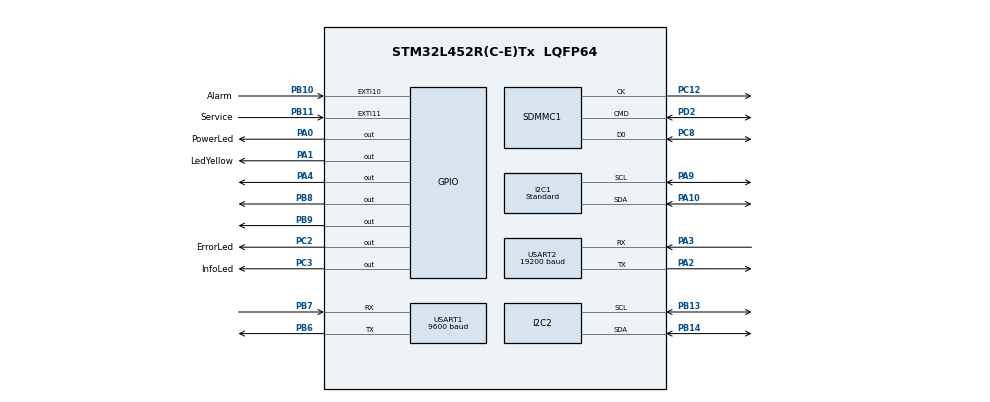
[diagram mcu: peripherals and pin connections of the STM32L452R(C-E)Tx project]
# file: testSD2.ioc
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Dma.Request0=SDMMC1
Dma.SDMMC1.0.Direction=DMA_PERIPH_TO_MEMORY
Dma.SDMMC1.0.Instance=DMA2_Channel4
Dma.SDMMC1.0.MemDataAlignment=DMA_MDATAALIGN_WORD
Dma.SDMMC1.0.MemInc=DMA_MINC_ENABLE
Dma.SDMMC1.0.Mode=DMA_NORMAL
Dma.SDMMC1.0.PeriphDataAlignment=DMA_PDATAALIGN_WORD
Dma.SDMMC1.0.PeriphInc=DMA_PINC_DISABLE
Dma.SDMMC1.0.Priority=DMA_PRIORITY_LOW
FATFS.USE_DMA_CODE_SD=1
FATFS._USE_LFN=3
I2C1.I2C_Speed_Mode=I2C_Standard
Mcu.Family=STM32L4
Mcu.Name=STM32L452R(C-E)Tx
Mcu.Package=LQFP64
NVIC.DMA2_Channel4_IRQn=true\:0\:0\:false\:false\:true\:false
NVIC.EXTI15_10_IRQn=true\:0\:0\:false\:false\:true\:true
NVIC.FLASH_IRQn=true\:0\:0\:false\:false\:true\:true
NVIC.FPU_IRQn=true\:0\:0\:false\:false\:true\:true
NVIC.I2C1_ER_IRQn=true\:0\:0\:false\:false\:true\:true
NVIC.I2C1_EV_IRQn=true\:0\:0\:false\:false\:true\:true
NVIC.I2C2_ER_IRQn=true\:0\:0\:false\:false\:true\:true
NVIC.I2C2_EV_IRQn=true\:0\:0\:false\:false\:true\:true
NVIC.PVD_PVM_IRQn=true\:0\:0\:false\:false\:true\:true
NVIC.PriorityGroup=NVIC_PRIORITYGROUP_4
NVIC.RCC_IRQn=true\:0\:0\:false\:false\:true\:true
NVIC.SDMMC1_IRQn=true\:0\:0\:false\:false\:true\:true
NVIC.TIM1_BRK_TIM15_IRQn=true\:0\:0\:false\:true\:true\:1\:true
NVIC.TIM1_UP_TIM16_IRQn=true\:0\:0\:false\:true\:true\:2\:true
NVIC.TIM2_IRQn=true\:0\:0\:false\:false\:true\:true
NVIC.TIM6_DAC_IRQn=true\:0\:0\:false\:false\:true\:true
NVIC.USART1_IRQn=true\:0\:0\:false\:false\:true\:true
NVIC.USART2_IRQn=true\:0\:0\:false\:false\:true\:true
PA0.GPIO_Label=PowerLed
PA0.GPIO_ModeDefaultOutputPP=GPIO_MODE_OUTPUT_PP
PA0.GPIO_PuPd=GPIO_NOPULL
PA0.GPIO_Speed=GPIO_SPEED_FREQ_HIGH
PA0.PinState=GPIO_PIN_SET
PA0.Signal=GPIO_Output
PA1.GPIO_Label=LedYellow
PA1.GPIO_ModeDefaultOutputPP=GPIO_MODE_OUTPUT_PP
PA1.GPIO_PuPd=GPIO_NOPULL
PA1.GPIO_Speed=GPIO_SPEED_FREQ_HIGH
PA1.PinState=GPIO_PIN_SET
PA1.Signal=GPIO_Output
PA10.GPIO_Mode=GPIO_MODE_AF_OD
PA10.GPIO_PuPdOD=GPIO_PULLUP
PA10.GPIO_Speed=GPIO_SPEED_FREQ_VERY_HIGH
PA10.Mode=I2C
PA10.Signal=I2C1_SDA
PA2.Mode=Asynchronous
PA2.Signal=USART2_TX
PA3.Mode=Asynchronous
PA3.Signal=USART2_RX
PA4.GPIO_ModeDefaultOutputPP=GPIO_MODE_OUTPUT_PP
PA4.GPIO_PuPd=GPIO_NOPULL
PA4.GPIO_Speed=GPIO_SPEED_FREQ_LOW
PA4.PinState=GPIO_PIN_RESET
PA4.Signal=GPIO_Output
PA9.GPIO_Mode=GPIO_MODE_AF_OD
PA9.GPIO_PuPdOD=GPIO_PULLUP
PA9.GPIO_Speed=GPIO_SPEED_FREQ_VERY_HIGH
PA9.Mode=I2C
PA9.Signal=I2C1_SCL
PB10.GPIO_Label=Alarm
PB10.GPIO_ModeDefaultEXTI=GPIO_MODE_IT_RISING
PB10.GPIO_PuPd=GPIO_NOPULL
PB10.Signal=GPXTI10
PB11.GPIO_Label=Service
PB11.GPIO_ModeDefaultEXTI=GPIO_MODE_IT_RISING
PB11.GPIO_PuPd=GPIO_NOPULL
PB11.Signal=GPXTI11
PB13.Mode=I2C
PB13.Signal=I2C2_SCL
PB14.Mode=I2C
PB14.Signal=I2C2_SDA
PB6.Mode=Asynchronous
PB6.Signal=USART1_TX
PB7.Mode=Asynchronous
PB7.Signal=USART1_RX
PB8.GPIO_FM8=__NULL
PB8.GPIO_ModeDefaultOutputPP=GPIO_MODE_OUTPUT_PP
PB8.GPIO_PuPd=GPIO_NOPULL
PB8.GPIO_Speed=GPIO_SPEED_FREQ_LOW
PB8.PinState=GPIO_PIN_RESET
PB8.Signal=GPIO_Output
PB9.GPIO_FM9=__NULL
PB9.GPIO_ModeDefaultOutputPP=GPIO_MODE_OUTPUT_PP
PB9.GPIO_PuPd=GPIO_NOPULL
PB9.GPIO_Speed=GPIO_SPEED_FREQ_LOW
PB9.PinState=GPIO_PIN_RESET
PB9.Signal=GPIO_Output
PC12.GPIO_Mode=GPIO_MODE_AF_PP
PC12.GPIO_PuPd=GPIO_NOPULL
PC12.GPIO_Speed_High_Default=GPIO_SPEED_FREQ_VERY_HIGH
PC12.Mode=SD_1_bit
PC12.Signal=SDMMC1_CK
PC2.GPIO_Label=ErrorLed
PC2.GPIO_ModeDefaultOutputPP=GPIO_MODE_OUTPUT_PP
PC2.GPIO_PuPd=GPIO_NOPULL
PC2.GPIO_Speed=GPIO_SPEED_FREQ_HIGH
PC2.PinState=GPIO_PIN_SET
PC2.Signal=GPIO_Output
PC3.GPIO_Label=InfoLed
PC3.GPIO_ModeDefaultOutputPP=GPIO_MODE_OUTPUT_PP
PC3.GPIO_PuPd=GPIO_NOPULL
PC3.GPIO_Speed=GPIO_SPEED_FREQ_HIGH
PC3.PinState=GPIO_PIN_SET
PC3.Signal=GPIO_Output
PC8.GPIO_Mode=GPIO_MODE_AF_PP
PC8.GPIO_PuPd=GPIO_NOPULL
PC8.GPIO_Speed_High_Default=GPIO_SPEED_FREQ_VERY_HIGH
PC8.Mode=SD_1_bit
PC8.Signal=SDMMC1_D0
PD2.GPIO_Mode=GPIO_MODE_AF_PP
PD2.GPIO_PuPd=GPIO_NOPULL
PD2.GPIO_Speed_High_Default=GPIO_SPEED_FREQ_VERY_HIGH
PD2.Mode=SD_1_bit
PD2.Signal=SDMMC1_CMD
ProjectManager.HeapSize=0x2000
ProjectManager.StackSize=0x4000
ProjectManager.TargetToolchain=SW4STM32
RCC.ADCFreq_Value=48000000
RCC.DATA_CACHE_ENABLE=1
RCC.INSTRUCTION_CACHE_ENABLE=0
RCC.PLLSAI1N=24
RCC.SYSCLKSource=RCC_SYSCLKSOURCE_PLLCLK
RCC.USBFreq_Value=48000000
RTC.Format=RTC_FORMAT_BIN
RTC.Hours=9
RTC.Minutes=20
TIM2.Period=19999
TIM2.Prescaler=19999
USART1.BaudRate=9600
USART1.VirtualMode-Asynchronous=VM_ASYNC
USART1.WordLength=WORDLENGTH_8B
USART2.BaudRate=19200
USART2.VirtualMode-Asynchronous=VM_ASYNC
USART2.WordLength=WORDLENGTH_8B
VP_FATFS_VS_SDIO.Mode=SDIO
VP_RTC_VS_RTC_Activate.Mode=RTC_Enabled
VP_RTC_VS_RTC_Calendar.Mode=RTC_Calendar
VP_TIM15_VS_ClockSourceINT.Mode=Internal
VP_TIM16_VS_ClockSourceINT.Mode=Enable_Timer
VP_TIM2_VS_ClockSourceINT.Mode=Internal
VP_TIM6_VS_ClockSourceINT.Mode=Enable_Timer
board=Centrala4

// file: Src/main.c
/**
  ******************************************************************************
  * @file           : main.c
  * @brief          : Main program body
  ******************************************************************************
  * This notice applies to any and all portions of this file
  * that are not between comment pairs USER CODE BEGIN and
  * USER CODE END. Other portions of this file, whether
  * inserted by the user or by software development tools
  * are owned by their respective copyright owners.
  *
  * Copyright (c) 2018 STMicroelectronics International N.V.
  * All rights reserved.
  *
  * Redistribution and use in source and binary forms, with or without
  * modification, are permitted, provided that the following conditions are met:
  *
  * 1. Redistribution of source code must retain the above copyright notice,
  *    this list of conditions and the following disclaimer.
  * 2. Redistributions in binary form must reproduce the above copyright notice,
  *    this list of conditions and the following disclaimer in the documentation
  *    and/or other materials provided with the distribution.
  * 3. Neither the name of STMicroelectronics nor the names of other
  *    contributors to this software may be used to endorse or promote products
  *    derived from this software without specific written permission.
  * 4. This software, including modifications and/or derivative works of this
  *    software, must execute solely and exclusively on microcontroller or
  *    microprocessor devices manufactured by or for STMicroelectronics.
  * 5. Redistribution and use of this software other than as permitted under
  *    this license is void and will automatically terminate your rights under
  *    this license.
  *
  * THIS SOFTWARE IS PROVIDED BY STMICROELECTRONICS AND CONTRIBUTORS "AS IS"
  * AND ANY EXPRESS, IMPLIED OR STATUTORY WARRANTIES, INCLUDING, BUT NOT
  * LIMITED TO, THE IMPLIED WARRANTIES OF MERCHANTABILITY, FITNESS FOR A
  * PARTICULAR PURPOSE AND NON-INFRINGEMENT OF THIRD PARTY INTELLECTUAL PROPERTY
  * RIGHTS ARE DISCLAIMED TO THE FULLEST EXTENT PERMITTED BY LAW. IN NO EVENT
  * SHALL STMICROELECTRONICS OR CONTRIBUTORS BE LIABLE FOR ANY DIRECT, INDIRECT,
  * INCIDENTAL, SPECIAL, EXEMPLARY, OR CONSEQUENTIAL DAMAGES (INCLUDING, BUT NOT
  * LIMITED TO, PROCUREMENT OF SUBSTITUTE GOODS OR SERVICES; LOSS OF USE, DATA,
  * OR PROFITS; OR BUSINESS INTERRUPTION) HOWEVER CAUSED AND ON ANY THEORY OF
  * LIABILITY, WHETHER IN CONTRACT, STRICT LIABILITY, OR TORT (INCLUDING
  * NEGLIGENCE OR OTHERWISE) ARISING IN ANY WAY OUT OF THE USE OF THIS SOFTWARE,
  * EVEN IF ADVISED OF THE POSSIBILITY OF SUCH DAMAGE.
  *
  ******************************************************************************
  */
#include "main.h"
#include "stm32l4xx_hal.h"
#include "fatfs.h"

I2C_HandleTypeDef hi2c1;
I2C_HandleTypeDef hi2c2;

RTC_HandleTypeDef hrtc;

SD_HandleTypeDef hsd1;
DMA_HandleTypeDef hdma_sdmmc1;

TIM_HandleTypeDef htim2;
TIM_HandleTypeDef htim6;
TIM_HandleTypeDef htim15;
TIM_HandleTypeDef htim16;

UART_HandleTypeDef huart1;
UART_HandleTypeDef huart2;

/* USER CODE BEGIN PV */
/* Private variables ---------------------------------------------------------*/
//---------------SD CARD-------------------------//
FRESULT fresult; 			// rezultat operacji plikowej
FIL plik;
FATFS FatF; 				// zmienna system plików
UINT r; 					// zmienna pomocnicza
FILINFO debugFile;       	//informacje o pliku
char plikname[10];
char tablica1[40];
volatile uint8_t tryb;
volatile uint8_t alarm;

static RTC_TimeTypeDef time1;
static RTC_DateTypeDef date1;

static RTC_TimeTypeDef time2;
static RTC_DateTypeDef date2;
/* USER CODE END PV */

void SystemClock_Config(void);
static void MX_GPIO_Init(void);
static void MX_DMA_Init(void);
static void MX_I2C1_Init(void);
static void MX_RTC_Init(void);
static void MX_TIM2_Init(void);
static void MX_TIM6_Init(void);
static void MX_TIM15_Init(void);
static void MX_TIM16_Init(void);
static void MX_USART1_UART_Init(void);
static void MX_USART2_UART_Init(void);
static void MX_I2C2_Init(void);
static void MX_SDMMC1_SD_Init(void);
static void MX_NVIC_Init(void);

/* USER CODE BEGIN PFP */
/* Private function prototypes -----------------------------------------------*/

/* USER CODE END PFP */

int main(void)
{

  /* MCU Configuration----------------------------------------------------------*/

  /* Reset of all peripherals, Initializes the Flash interface and the Systick. */
  HAL_Init();

  /* Configure the system clock */
  SystemClock_Config();

  /* Initialize all configured peripherals */
  MX_GPIO_Init();
  MX_DMA_Init();
  MX_I2C1_Init();
  MX_RTC_Init();
  MX_TIM2_Init();
  MX_TIM6_Init();
  MX_TIM15_Init();
  MX_TIM16_Init();
  MX_USART1_UART_Init();
  MX_USART2_UART_Init();
  MX_I2C2_Init();
  MX_SDMMC1_SD_Init();
  MX_FATFS_Init();

  /* Initialize interrupts */
  MX_NVIC_Init();
  /* USER CODE BEGIN 2 */
  //-----rozpoczêcie pracy z systemem plików----------------------
  	fresult = f_mount(&FatF, 1, 0);			//MONTOWANIE KARTY SD

  //	sprintf(data1, " %02d%02d%02d.TXT", date1.Date, date1.Month, date1.Year);

  	fresult = f_open(&plik,"KUTAS", FA_WRITE | FA_OPEN_ALWAYS); //otwarcie pliku do zapisu
  	if (fresult == FR_OK) {						//SPRAWDZENIE CZY JEST KARTA SD
  				//--HAL_GPIO_WritePin(LedRed_GPIO_Port, LedRed_Pin, GPIO_PIN_SET);
  		HAL_GPIO_WritePin(LedYellow_GPIO_Port,LedYellow_Pin,0);
  			}
  			else{
  				HAL_GPIO_WritePin(ErrorLed_GPIO_Port,ErrorLed_Pin,0);
  			}

  	f_lseek(&plik, f_size(&plik)); //przesuniecie wskaznika na ostatni znak w pliku
  	f_sync(&plik);											//zamkniecie pliku
  	fresult = f_close(&plik);								//zamkniecie pliku
  /* USER CODE END 2 */

  /* Infinite loop */
  while (1)
  {

  }

}

void SystemClock_Config(void)
{

  RCC_OscInitTypeDef RCC_OscInitStruct;
  RCC_ClkInitTypeDef RCC_ClkInitStruct;
  RCC_PeriphCLKInitTypeDef PeriphClkInit;

    /**Initializes the CPU, AHB and APB busses clocks
    */
  RCC_OscInitStruct.OscillatorType = RCC_OSCILLATORTYPE_LSI|RCC_OSCILLATORTYPE_MSI;
  RCC_OscInitStruct.LSIState = RCC_LSI_ON;
  RCC_OscInitStruct.MSIState = RCC_MSI_ON;
  RCC_OscInitStruct.MSICalibrationValue = 0;
  RCC_OscInitStruct.MSIClockRange = RCC_MSIRANGE_6;
  RCC_OscInitStruct.PLL.PLLState = RCC_PLL_ON;
  RCC_OscInitStruct.PLL.PLLSource = RCC_PLLSOURCE_MSI;
  RCC_OscInitStruct.PLL.PLLM = 1;
  RCC_OscInitStruct.PLL.PLLN = 8;
  RCC_OscInitStruct.PLL.PLLP = RCC_PLLP_DIV7;
  RCC_OscInitStruct.PLL.PLLQ = RCC_PLLQ_DIV2;
  RCC_OscInitStruct.PLL.PLLR = RCC_PLLR_DIV2;
  if (HAL_RCC_OscConfig(&RCC_OscInitStruct) != HAL_OK)
  {
    _Error_Handler(__FILE__, __LINE__);
  }

    /**Initializes the CPU, AHB and APB busses clocks
    */
  RCC_ClkInitStruct.ClockType = RCC_CLOCKTYPE_HCLK|RCC_CLOCKTYPE_SYSCLK
                              |RCC_CLOCKTYPE_PCLK1|RCC_CLOCKTYPE_PCLK2;
  RCC_ClkInitStruct.SYSCLKSource = RCC_SYSCLKSOURCE_PLLCLK;
  RCC_ClkInitStruct.AHBCLKDivider = RCC_SYSCLK_DIV1;
  RCC_ClkInitStruct.APB1CLKDivider = RCC_HCLK_DIV1;
  RCC_ClkInitStruct.APB2CLKDivider = RCC_HCLK_DIV1;

  if (HAL_RCC_ClockConfig(&RCC_ClkInitStruct, FLASH_LATENCY_0) != HAL_OK)
  {
    _Error_Handler(__FILE__, __LINE__);
  }

  PeriphClkInit.PeriphClockSelection = RCC_PERIPHCLK_RTC|RCC_PERIPHCLK_USART1
                              |RCC_PERIPHCLK_USART2|RCC_PERIPHCLK_I2C1
                              |RCC_PERIPHCLK_I2C2|RCC_PERIPHCLK_SDMMC1;
  PeriphClkInit.Usart1ClockSelection = RCC_USART1CLKSOURCE_PCLK2;
  PeriphClkInit.Usart2ClockSelection = RCC_USART2CLKSOURCE_PCLK1;
  PeriphClkInit.I2c1ClockSelection = RCC_I2C1CLKSOURCE_PCLK1;
  PeriphClkInit.I2c2ClockSelection = RCC_I2C2CLKSOURCE_PCLK1;
  PeriphClkInit.RTCClockSelection = RCC_RTCCLKSOURCE_LSI;
  PeriphClkInit.Sdmmc1ClockSelection = RCC_SDMMC1CLKSOURCE_PLLSAI1;
  PeriphClkInit.PLLSAI1.PLLSAI1Source = RCC_PLLSOURCE_MSI;
  PeriphClkInit.PLLSAI1.PLLSAI1M = 1;
  PeriphClkInit.PLLSAI1.PLLSAI1N = 24;
  PeriphClkInit.PLLSAI1.PLLSAI1P = RCC_PLLP_DIV7;
  PeriphClkInit.PLLSAI1.PLLSAI1Q = RCC_PLLQ_DIV2;
  PeriphClkInit.PLLSAI1.PLLSAI1R = RCC_PLLR_DIV2;
  PeriphClkInit.PLLSAI1.PLLSAI1ClockOut = RCC_PLLSAI1_48M2CLK;
  if (HAL_RCCEx_PeriphCLKConfig(&PeriphClkInit) != HAL_OK)
  {
    _Error_Handler(__FILE__, __LINE__);
  }

    /**Configure the main internal regulator output voltage
    */
  if (HAL_PWREx_ControlVoltageScaling(PWR_REGULATOR_VOLTAGE_SCALE1) != HAL_OK)
  {
    _Error_Handler(__FILE__, __LINE__);
  }

    /**Configure the Systick interrupt time
    */
  HAL_SYSTICK_Config(HAL_RCC_GetHCLKFreq()/1000);

    /**Configure the Systick
    */
  HAL_SYSTICK_CLKSourceConfig(SYSTICK_CLKSOURCE_HCLK);

  /* SysTick_IRQn interrupt configuration */
  HAL_NVIC_SetPriority(SysTick_IRQn, 0, 0);
}

/**
  * @brief NVIC Configuration.
  * @retval None
  */
static void MX_NVIC_Init(void)
{
  /* TIM1_BRK_TIM15_IRQn interrupt configuration */
  HAL_NVIC_SetPriority(TIM1_BRK_TIM15_IRQn, 0, 0);
  HAL_NVIC_EnableIRQ(TIM1_BRK_TIM15_IRQn);
  /* TIM1_UP_TIM16_IRQn interrupt configuration */
  HAL_NVIC_SetPriority(TIM1_UP_TIM16_IRQn, 0, 0);
  HAL_NVIC_EnableIRQ(TIM1_UP_TIM16_IRQn);
}

/* I2C1 init function */
static void MX_I2C1_Init(void)
{

  hi2c1.Instance = I2C1;
  hi2c1.Init.Timing = 0x00000E14;
  hi2c1.Init.OwnAddress1 = 0;
  hi2c1.Init.AddressingMode = I2C_ADDRESSINGMODE_7BIT;
  hi2c1.Init.DualAddressMode = I2C_DUALADDRESS_DISABLE;
  hi2c1.Init.OwnAddress2 = 0;
  hi2c1.Init.OwnAddress2Masks = I2C_OA2_NOMASK;
  hi2c1.Init.GeneralCallMode = I2C_GENERALCALL_DISABLE;
  hi2c1.Init.NoStretchMode = I2C_NOSTRETCH_DISABLE;
  if (HAL_I2C_Init(&hi2c1) != HAL_OK)
  {
    _Error_Handler(__FILE__, __LINE__);
  }

    /**Configure Analogue filter
    */
  if (HAL_I2CEx_ConfigAnalogFilter(&hi2c1, I2C_ANALOGFILTER_ENABLE) != HAL_OK)
  {
    _Error_Handler(__FILE__, __LINE__);
  }

    /**Configure Digital filter
    */
  if (HAL_I2CEx_ConfigDigitalFilter(&hi2c1, 0) != HAL_OK)
  {
    _Error_Handler(__FILE__, __LINE__);
  }

}

/* I2C2 init function */
static void MX_I2C2_Init(void)
{

  hi2c2.Instance = I2C2;
  hi2c2.Init.Timing = 0x00000E14;
  hi2c2.Init.OwnAddress1 = 0;
  hi2c2.Init.AddressingMode = I2C_ADDRESSINGMODE_7BIT;
  hi2c2.Init.DualAddressMode = I2C_DUALADDRESS_DISABLE;
  hi2c2.Init.OwnAddress2 = 0;
  hi2c2.Init.OwnAddress2Masks = I2C_OA2_NOMASK;
  hi2c2.Init.GeneralCallMode = I2C_GENERALCALL_DISABLE;
  hi2c2.Init.NoStretchMode = I2C_NOSTRETCH_DISABLE;
  if (HAL_I2C_Init(&hi2c2) != HAL_OK)
  {
    _Error_Handler(__FILE__, __LINE__);
  }

    /**Configure Analogue filter
    */
  if (HAL_I2CEx_ConfigAnalogFilter(&hi2c2, I2C_ANALOGFILTER_ENABLE) != HAL_OK)
  {
    _Error_Handler(__FILE__, __LINE__);
  }

    /**Configure Digital filter
    */
  if (HAL_I2CEx_ConfigDigitalFilter(&hi2c2, 0) != HAL_OK)
  {
    _Error_Handler(__FILE__, __LINE__);
  }

}

/* RTC init function */
static void MX_RTC_Init(void)
{

  RTC_TimeTypeDef sTime;
  RTC_DateTypeDef sDate;

    /**Initialize RTC Only
    */
  hrtc.Instance = RTC;
  hrtc.Init.HourFormat = RTC_HOURFORMAT_24;
  hrtc.Init.AsynchPrediv = 127;
  hrtc.Init.SynchPrediv = 255;
  hrtc.Init.OutPut = RTC_OUTPUT_DISABLE;
  hrtc.Init.OutPutRemap = RTC_OUTPUT_REMAP_NONE;
  hrtc.Init.OutPutPolarity = RTC_OUTPUT_POLARITY_HIGH;
  hrtc.Init.OutPutType = RTC_OUTPUT_TYPE_OPENDRAIN;
  if (HAL_RTC_Init(&hrtc) != HAL_OK)
  {
    _Error_Handler(__FILE__, __LINE__);
  }

    /**Initialize RTC and set the Time and Date
    */
  sTime.Hours = 9;
  sTime.Minutes = 20;
  sTime.Seconds = 0;
  sTime.DayLightSaving = RTC_DAYLIGHTSAVING_NONE;
  sTime.StoreOperation = RTC_STOREOPERATION_RESET;
  if (HAL_RTC_SetTime(&hrtc, &sTime, RTC_FORMAT_BIN) != HAL_OK)
  {
    _Error_Handler(__FILE__, __LINE__);
  }

  sDate.WeekDay = RTC_WEEKDAY_MONDAY;
  sDate.Month = RTC_MONTH_JANUARY;
  sDate.Date = 1;
  sDate.Year = 0;

  if (HAL_RTC_SetDate(&hrtc, &sDate, RTC_FORMAT_BIN) != HAL_OK)
  {
    _Error_Handler(__FILE__, __LINE__);
  }

}

/* SDMMC1 init function */
static void MX_SDMMC1_SD_Init(void)
{

  hsd1.Instance = SDMMC1;
  hsd1.Init.ClockEdge = SDMMC_CLOCK_EDGE_RISING;
  hsd1.Init.ClockBypass = SDMMC_CLOCK_BYPASS_DISABLE;
  hsd1.Init.ClockPowerSave = SDMMC_CLOCK_POWER_SAVE_DISABLE;
  hsd1.Init.BusWide = SDMMC_BUS_WIDE_1B;
  hsd1.Init.HardwareFlowControl = SDMMC_HARDWARE_FLOW_CONTROL_DISABLE;
  hsd1.Init.ClockDiv = 0;

}

/* TIM2 init function */
static void MX_TIM2_Init(void)
{

  TIM_ClockConfigTypeDef sClockSourceConfig;
  TIM_MasterConfigTypeDef sMasterConfig;

  htim2.Instance = TIM2;
  htim2.Init.Prescaler = 19999;
  htim2.Init.CounterMode = TIM_COUNTERMODE_UP;
  htim2.Init.Period = 19999;
  htim2.Init.ClockDivision = TIM_CLOCKDIVISION_DIV1;
  htim2.Init.AutoReloadPreload = TIM_AUTORELOAD_PRELOAD_DISABLE;
  if (HAL_TIM_Base_Init(&htim2) != HAL_OK)
  {
    _Error_Handler(__FILE__, __LINE__);
  }

  sClockSourceConfig.ClockSource = TIM_CLOCKSOURCE_INTERNAL;
  if (HAL_TIM_ConfigClockSource(&htim2, &sClockSourceConfig) != HAL_OK)
  {
    _Error_Handler(__FILE__, __LINE__);
  }

  sMasterConfig.MasterOutputTrigger = TIM_TRGO_RESET;
  sMasterConfig.MasterSlaveMode = TIM_MASTERSLAVEMODE_DISABLE;
  if (HAL_TIMEx_MasterConfigSynchronization(&htim2, &sMasterConfig) != HAL_OK)
  {
    _Error_Handler(__FILE__, __LINE__);
  }

}

/* TIM6 init function */
static void MX_TIM6_Init(void)
{

  TIM_MasterConfigTypeDef sMasterConfig;

  htim6.Instance = TIM6;
  htim6.Init.Prescaler = 0;
  htim6.Init.CounterMode = TIM_COUNTERMODE_UP;
  htim6.Init.Period = 0;
  htim6.Init.AutoReloadPreload = TIM_AUTORELOAD_PRELOAD_DISABLE;
  if (HAL_TIM_Base_Init(&htim6) != HAL_OK)
  {
    _Error_Handler(__FILE__, __LINE__);
  }

  sMasterConfig.MasterOutputTrigger = TIM_TRGO_RESET;
  sMasterConfig.MasterSlaveMode = TIM_MASTERSLAVEMODE_DISABLE;
  if (HAL_TIMEx_MasterConfigSynchronization(&htim6, &sMasterConfig) != HAL_OK)
  {
    _Error_Handler(__FILE__, __LINE__);
  }

}

/* TIM15 init function */
static void MX_TIM15_Init(void)
{

  TIM_ClockConfigTypeDef sClockSourceConfig;
  TIM_MasterConfigTypeDef sMasterConfig;

  htim15.Instance = TIM15;
  htim15.Init.Prescaler = 0;
  htim15.Init.CounterMode = TIM_COUNTERMODE_UP;
  htim15.Init.Period = 0;
  htim15.Init.ClockDivision = TIM_CLOCKDIVISION_DIV1;
  htim15.Init.RepetitionCounter = 0;
  htim15.Init.AutoReloadPreload = TIM_AUTORELOAD_PRELOAD_DISABLE;
  if (HAL_TIM_Base_Init(&htim15) != HAL_OK)
  {
    _Error_Handler(__FILE__, __LINE__);
  }

  sClockSourceConfig.ClockSource = TIM_CLOCKSOURCE_INTERNAL;
  if (HAL_TIM_ConfigClockSource(&htim15, &sClockSourceConfig) != HAL_OK)
  {
    _Error_Handler(__FILE__, __LINE__);
  }

  sMasterConfig.MasterOutputTrigger = TIM_TRGO_RESET;
  sMasterConfig.MasterSlaveMode = TIM_MASTERSLAVEMODE_DISABLE;
  if (HAL_TIMEx_MasterConfigSynchronization(&htim15, &sMasterConfig) != HAL_OK)
  {
    _Error_Handler(__FILE__, __LINE__);
  }

}

/* TIM16 init function */
static void MX_TIM16_Init(void)
{

  htim16.Instance = TIM16;
  htim16.Init.Prescaler = 0;
  htim16.Init.CounterMode = TIM_COUNTERMODE_UP;
  htim16.Init.Period = 0;
  htim16.Init.ClockDivision = TIM_CLOCKDIVISION_DIV1;
  htim16.Init.RepetitionCounter = 0;
  htim16.Init.AutoReloadPreload = TIM_AUTORELOAD_PRELOAD_DISABLE;
  if (HAL_TIM_Base_Init(&htim16) != HAL_OK)
  {
    _Error_Handler(__FILE__, __LINE__);
  }

}

/* USART1 init function */
static void MX_USART1_UART_Init(void)
{

  huart1.Instance = USART1;
  huart1.Init.BaudRate = 9600;
  huart1.Init.WordLength = UART_WORDLENGTH_8B;
  huart1.Init.StopBits = UART_STOPBITS_1;
  huart1.Init.Parity = UART_PARITY_NONE;
  huart1.Init.Mode = UART_MODE_TX_RX;
  huart1.Init.HwFlowCtl = UART_HWCONTROL_NONE;
  huart1.Init.OverSampling = UART_OVERSAMPLING_16;
  huart1.Init.OneBitSampling = UART_ONE_BIT_SAMPLE_DISABLE;
  huart1.AdvancedInit.AdvFeatureInit = UART_ADVFEATURE_NO_INIT;
  if (HAL_UART_Init(&huart1) != HAL_OK)
  {
    _Error_Handler(__FILE__, __LINE__);
  }

}

/* USART2 init function */
static void MX_USART2_UART_Init(void)
{

  huart2.Instance = USART2;
  huart2.Init.BaudRate = 19200;
  huart2.Init.WordLength = UART_WORDLENGTH_8B;
  huart2.Init.StopBits = UART_STOPBITS_1;
  huart2.Init.Parity = UART_PARITY_NONE;
  huart2.Init.Mode = UART_MODE_TX_RX;
  huart2.Init.HwFlowCtl = UART_HWCONTROL_NONE;
  huart2.Init.OverSampling = UART_OVERSAMPLING_16;
  huart2.Init.OneBitSampling = UART_ONE_BIT_SAMPLE_DISABLE;
  huart2.AdvancedInit.AdvFeatureInit = UART_ADVFEATURE_NO_INIT;
  if (HAL_UART_Init(&huart2) != HAL_OK)
  {
    _Error_Handler(__FILE__, __LINE__);
  }

}

static void MX_DMA_Init(void)
{
  /* DMA controller clock enable */
  __HAL_RCC_DMA2_CLK_ENABLE();

  /* DMA interrupt init */
  /* DMA2_Channel4_IRQn interrupt configuration */
  HAL_NVIC_SetPriority(DMA2_Channel4_IRQn, 0, 0);
  HAL_NVIC_EnableIRQ(DMA2_Channel4_IRQn);

}

/** Configure pins as
        * Analog
        * Input
        * Output
        * EVENT_OUT
        * EXTI
*/
static void MX_GPIO_Init(void)
{

  GPIO_InitTypeDef GPIO_InitStruct;

  /* GPIO Ports Clock Enable */
  __HAL_RCC_GPIOC_CLK_ENABLE();
  __HAL_RCC_GPIOA_CLK_ENABLE();
  __HAL_RCC_GPIOB_CLK_ENABLE();
  __HAL_RCC_GPIOD_CLK_ENABLE();

  /*Configure GPIO pin Output Level */
  HAL_GPIO_WritePin(GPIOC, ErrorLed_Pin|InfoLed_Pin, GPIO_PIN_SET);

  /*Configure GPIO pin Output Level */
  HAL_GPIO_WritePin(GPIOA, PowerLed_Pin|LedYellow_Pin, GPIO_PIN_SET);

  /*Configure GPIO pin Output Level */
  HAL_GPIO_WritePin(GPIOA, GPIO_PIN_4, GPIO_PIN_RESET);

  /*Configure GPIO pin Output Level */
  HAL_GPIO_WritePin(GPIOB, GPIO_PIN_8|GPIO_PIN_9, GPIO_PIN_RESET);

  /*Configure GPIO pins : ErrorLed_Pin InfoLed_Pin */
  GPIO_InitStruct.Pin = ErrorLed_Pin|InfoLed_Pin;
  GPIO_InitStruct.Mode = GPIO_MODE_OUTPUT_PP;
  GPIO_InitStruct.Pull = GPIO_NOPULL;
  GPIO_InitStruct.Speed = GPIO_SPEED_FREQ_HIGH;
  HAL_GPIO_Init(GPIOC, &GPIO_InitStruct);

  /*Configure GPIO pins : PowerLed_Pin LedYellow_Pin */
  GPIO_InitStruct.Pin = PowerLed_Pin|LedYellow_Pin;
  GPIO_InitStruct.Mode = GPIO_MODE_OUTPUT_PP;
  GPIO_InitStruct.Pull = GPIO_NOPULL;
  GPIO_InitStruct.Speed = GPIO_SPEED_FREQ_HIGH;
  HAL_GPIO_Init(GPIOA, &GPIO_InitStruct);

  /*Configure GPIO pin : PA4 */
  GPIO_InitStruct.Pin = GPIO_PIN_4;
  GPIO_InitStruct.Mode = GPIO_MODE_OUTPUT_PP;
  GPIO_InitStruct.Pull = GPIO_NOPULL;
  GPIO_InitStruct.Speed = GPIO_SPEED_FREQ_LOW;
  HAL_GPIO_Init(GPIOA, &GPIO_InitStruct);

  /*Configure GPIO pins : Alarm_Pin Service_Pin */
  GPIO_InitStruct.Pin = Alarm_Pin|Service_Pin;
  GPIO_InitStruct.Mode = GPIO_MODE_IT_RISING;
  GPIO_InitStruct.Pull = GPIO_NOPULL;
  HAL_GPIO_Init(GPIOB, &GPIO_InitStruct);

  /*Configure GPIO pins : PB8 PB9 */
  GPIO_InitStruct.Pin = GPIO_PIN_8|GPIO_PIN_9;
  GPIO_InitStruct.Mode = GPIO_MODE_OUTPUT_PP;
  GPIO_InitStruct.Pull = GPIO_NOPULL;
  GPIO_InitStruct.Speed = GPIO_SPEED_FREQ_LOW;
  HAL_GPIO_Init(GPIOB, &GPIO_InitStruct);

  /* EXTI interrupt init*/
  HAL_NVIC_SetPriority(EXTI15_10_IRQn, 0, 0);
  HAL_NVIC_EnableIRQ(EXTI15_10_IRQn);

}

void _Error_Handler(char *file, int line)
{
  while(1)
  {
  }
}

/************************ (C) COPYRIGHT STMicroelectronics *****END OF FILE****/
